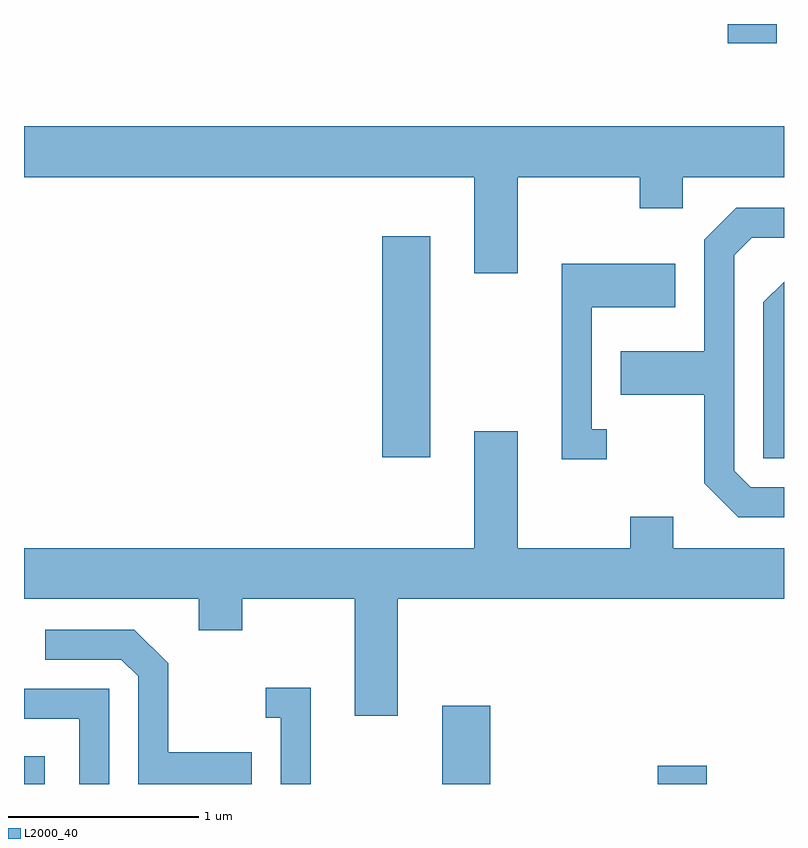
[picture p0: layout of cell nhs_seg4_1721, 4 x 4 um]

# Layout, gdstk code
import gdstk
lib = gdstk.Library(unit=1e-6, precision=1e-09)
def R(c, l, rs):  # rectangles x0, y0, x1, y1
    for r in rs: c.add(gdstk.rectangle(r[:2], r[2:], *l))
def P(c, l, *ps):  # polygons
    for p in ps: c.add(gdstk.Polygon(p, *l))
L2000_40 = (2000, 40)

nhs_seg4_1721 = lib.new_cell('nhs_seg4_1721')
R(nhs_seg4_1721, L2000_40, [(235.611,1295.982,235.719,1296.129), (237.811,1295.982,238.064,1296.394), (238.946,1295.982,239.204,1296.079), (237.496,1297.701,237.749,1298.864), (239.316,1299.881,239.574,1299.982)])
P(nhs_seg4_1721, L2000_40, [(238.209,1299.176),(238.851,1299.176),(238.851,1299.011),(239.079,1299.011),(239.079,1299.176),(239.611,1299.176),(239.611,1299.444),(235.611,1299.444),(235.611,1299.176),(237.981,1299.176),(237.981,1298.671),(238.209,1298.671)],
  [(239.611,1297.544),(239.437,1297.544),(239.349,1297.632),(239.349,1298.764),(239.442,1298.856),(239.611,1298.856),(239.611,1299.014),(239.359,1299.014),(239.191,1298.847),(239.191,1298.259),(238.751,1298.259),(238.751,1298.031),(239.191,1298.031),(239.191,1297.564),(239.369,1297.386),(239.611,1297.386)],
  [(238.678,1297.849),(238.599,1297.849),(238.599,1298.491),(239.039,1298.491),(239.039,1298.719),(238.441,1298.719),(238.441,1297.691),(238.678,1297.691)],
  [(239.611,1298.626),(239.501,1298.517),(239.501,1297.696),(239.611,1297.696)],
  [(237.579,1296.956),(239.611,1296.956),(239.611,1297.224),(239.029,1297.224),(239.029,1297.389),(238.801,1297.389),(238.801,1297.224),(238.209,1297.224),(238.209,1297.839),(237.981,1297.839),(237.981,1297.224),(235.611,1297.224),(235.611,1296.956),(236.531,1296.956),(236.531,1296.791),(236.759,1296.791),(236.759,1296.956),(237.351,1296.956),(237.351,1296.341),(237.579,1296.341)],
  [(236.809,1296.149),(236.369,1296.149),(236.369,1296.617),(236.192,1296.794),(235.723,1296.794),(235.723,1296.636),(236.124,1296.636),(236.211,1296.549),(236.211,1295.982),(236.809,1295.982)],
  [(237.119,1296.489),(236.883,1296.489),(236.883,1296.331),(236.961,1296.331),(236.961,1295.982),(237.119,1295.982)],
  [(236.059,1296.484),(235.611,1296.484),(235.611,1296.326),(235.901,1296.326),(235.901,1295.982),(236.059,1295.982)])

lib.write_gds('nhs_seg4_1721.gds')
